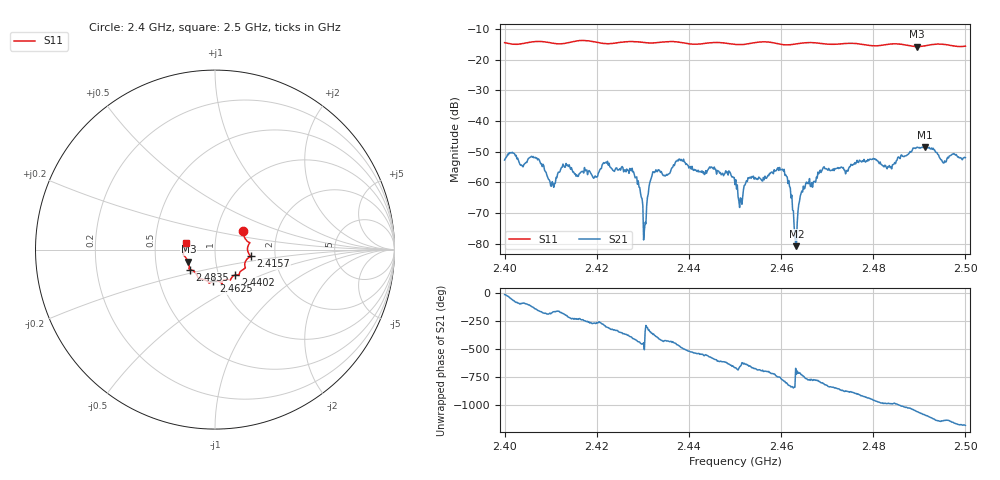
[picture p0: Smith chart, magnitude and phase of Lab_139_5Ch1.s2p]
# Hz S RI R 50
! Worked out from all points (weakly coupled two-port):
!   601 points, 2.4 GHz to 2.5 GHz, reference 50 ohm
!   highest |S21| = -48.44 dB at 2.4912 GHz (marker M1); lowest = -80.8 dB at 2.4633 GHz (marker M2)
!   lowest |S11| = -15.7 dB at 2.4895 GHz (marker M3), VSWR 1.39, Z = 36.8 - j5.14 ohm
!   |S11| at or under -10 dB: start of sweep to end of sweep
!   S12 and S22 are empty: the file has one direction only
!   S11 on the Smith chart (normalised r, x): 2.4 GHz: 1.34, +0.29; 2.4157 GHz: 1.49, -0.11; 2.4402 GHz: 1.20, -0.35; 2.4625 GHz: 0.92, -0.34; 2.4835 GHz: 0.74, -0.17; 2.5 GHz: 0.72, +0.05
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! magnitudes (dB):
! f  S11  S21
! 2.4 GHz  -14.5  -52.7
! 2.4105 GHz  -14.6  -60.4
! 2.4157 GHz  -13.9  -57.6
! 2.4167 GHz  -13.7  -56.6
! 2.4277 GHz  -14.1  -55.4
! 2.4303 GHz  -14.4  -75.6
! 2.4318 GHz  -14.6  -58.4
! 2.4333 GHz  -14.4  -55.9
! 2.4402 GHz  -14.8  -55.0
! 2.45 GHz  -15.0  -60.7
! 2.4512 GHz  -15.1  -65.0
! 2.4533 GHz  -14.7  -58.3
! 2.4602 GHz  -15.0  -55.8
! 2.4625 GHz  -15.0  -69.0
! 2.4633 GHz  -14.8  -80.8
! 2.4645 GHz  -14.6  -62.8
! 2.4667 GHz  -14.4  -60.1
! 2.4833 GHz  -15.0  -54.9
! 2.4835 GHz  -15.0  -54.5
! 2.4895 GHz  -15.7  -48.5
! 2.4912 GHz  -15.5  -48.4
! 2.5 GHz  -15.6  -51.9
